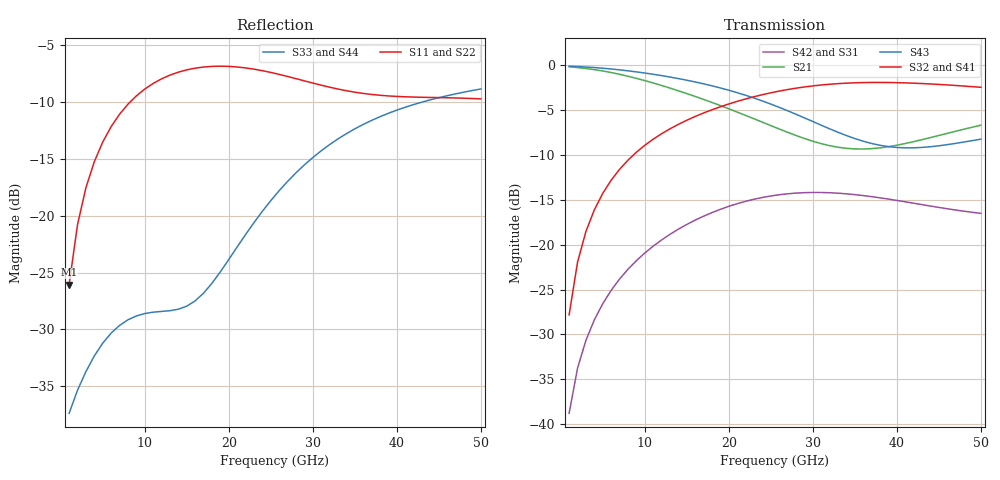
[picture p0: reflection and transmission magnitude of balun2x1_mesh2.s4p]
! Created with skrf 2.2.0 (http://scikit-rf.org).
# GHz S DB R 50.0
! Port[1] = P1
! Port[2] = P2
! Port[3] = P3
! Port[4] = P4
!freq dBS11 angS11 dBS12 angS12 dBS13 angS13
! dBS14 angS14
! dBS21 angS21 dBS22 angS22 dBS23 angS23
! dBS24 angS24
! dBS31 angS31 dBS32 angS32 dBS33 angS33
! dBS34 angS34
! dBS41 angS41 dBS42 angS42 dBS43 angS43
! dBS44 angS44
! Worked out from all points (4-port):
!   50 points, 1 GHz to 50 GHz, reference 50 ohm
!   strongest paths, dB at 1 GHz, 13 GHz, 26 GHz, 38 GHz, 50 GHz:
!     S32: -27.8, -7.1, -2.9, -1.9, -2.5
!     S41: -27.8, -7.1, -2.9, -2.0, -2.5
!     S43: -0.1, -1.3, -4.7, -8.9, -8.2
!     S21: -0.2, -2.6, -7.1, -9.2, -6.7
!     S42: -38.8, -18.9, -14.4, -14.8, -16.5
!     S31: -38.8, -18.9, -14.6, -15.0, -16.6
!   lowest |S11| = -26.1 dB at 1 GHz (marker M1), VSWR 1.10, Z = 52 + j4.67 ohm
!   |S11| at or under -10 dB: start of sweep to 8.259 GHz
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1  -26.07 64.4  -0.19 -5.3  -38.80 -110.1  -27.82 84.2
   -0.19 -5.3  -26.07 64.3  -27.82 84.2  -38.79 -110.2
   -38.80 -110.1  -27.82 84.2  -37.39 23.4  -0.12 -2.6
   -27.82 84.2  -38.79 -110.2  -0.12 -2.6  -37.38 23.4
4  -15.24 62.2  -0.50 -19.8  -28.38 -134.2  -16.12 73.5
   -0.50 -19.8  -15.25 62.1  -16.13 73.5  -28.38 -134.4
   -28.38 -134.2  -16.13 73.5  -32.33 28.4  -0.27 -9.7
   -16.12 73.5  -28.38 -134.4  -0.27 -9.7  -32.35 28.3
9  -9.46 40.7  -1.47 -42.8  -21.81 -175.4  -9.71 55.9
   -1.47 -42.8  -9.47 40.3  -9.71 55.9  -21.79 -175.8
   -21.81 -175.4  -9.71 55.9  -28.82 0.4  -0.75 -20.9
   -9.71 55.9  -21.79 -175.8  -0.75 -20.9  -28.82 0.2
18  -6.86 6.0  -4.16 -82.8  -16.49 119.6  -4.98 28.7
    -4.16 -82.8  -6.89 5.2  -4.98 28.6  -16.43 118.7
    -16.49 119.6  -4.98 28.6  -25.94 -107.1  -2.31 -38.9
    -4.98 28.7  -16.43 118.7  -2.31 -38.9  -25.82 -108.0
28  -7.94 -18.9  -7.84 -138.5  -14.38 61.1  -2.59 -0.0
    -7.84 -138.5  -8.07 -20.3  -2.57 -0.2  -14.26 59.7
    -14.38 61.1  -2.57 -0.2  -16.22 168.1  -5.48 -52.6
    -2.59 -0.0  -14.26 59.7  -5.48 -52.6  -16.07 167.8
37  -9.33 -26.5  -9.31 155.5  -14.83 21.9  -1.96 -24.9
    -9.31 155.5  -9.61 -27.8  -1.93 -25.2  -14.65 19.5
    -14.83 21.9  -1.93 -25.2  -11.61 126.6  -8.73 -46.4
    -1.96 -24.9  -14.65 19.5  -8.73 -46.4  -11.46 126.2
50  -9.72 -37.5  -6.69 87.5  -16.65 -8.5  -2.51 -54.3
    -6.69 87.5  -10.05 -38.0  -2.47 -54.8  -16.51 -12.6
    -16.65 -8.5  -2.47 -54.8  -8.85 89.3  -8.25 -28.9
    -2.51 -54.3  -16.51 -12.6  -8.25 -28.9  -8.69 88.7
